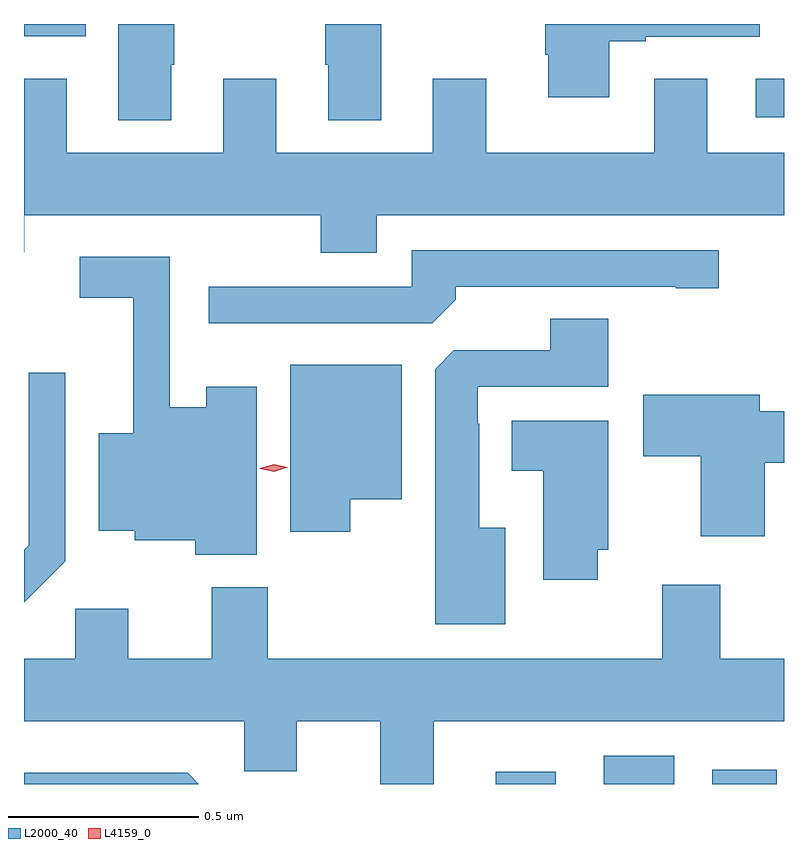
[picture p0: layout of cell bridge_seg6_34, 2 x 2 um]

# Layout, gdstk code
import gdstk
lib = gdstk.Library(unit=1e-6, precision=1e-09)
def R(c, l, rs):  # rectangles x0, y0, x1, y1
    for r in rs: c.add(gdstk.rectangle(r[:2], r[2:], *l))
def P(c, l, *ps):  # polygons
    for p in ps: c.add(gdstk.Polygon(p, *l))
L2000_40 = (2000, 40)
L4159_0 = (4159, 0)

bridge_seg6_34 = lib.new_cell('bridge_seg6_34')
R(bridge_seg6_34, L2000_40, [(1079.21,983.135,1079.368,983.167), (1079.495,983.135,1079.68,983.209), (1079.78,983.135,1079.95,983.173), (1079.895,984.89,1079.969,984.991), (1077.969,985.103,1078.132,985.135)])
P(bridge_seg6_34, L2000_40, [(1079.509,985.089),(1079.605,985.089),(1079.605,985.101),(1079.905,985.101),(1079.905,985.135),(1079.341,985.135),(1079.341,985.054),(1079.348,985.054),(1079.348,984.942),(1079.509,984.942)],
  [(1078.909,985.135),(1078.762,985.135),(1078.762,985.028),(1078.769,985.028),(1078.769,984.882),(1078.909,984.882)],
  [(1078.357,985.028),(1078.365,985.028),(1078.365,985.135),(1078.217,985.135),(1078.217,984.882),(1078.357,984.882)],
  [(1078.897,984.632),(1079.969,984.632),(1079.969,984.796),(1079.767,984.796),(1079.767,984.991),(1079.627,984.991),(1079.627,984.796),(1079.185,984.796),(1079.185,984.991),(1079.045,984.991),(1079.045,984.796),(1078.633,984.796),(1078.633,984.991),(1078.493,984.991),(1078.493,984.796),(1078.081,984.796),(1078.081,984.991),(1077.969,984.991),(1077.969,984.534),(1077.97,984.534),(1077.97,984.632),(1078.75,984.632),(1078.75,984.533),(1078.897,984.533)],
  [(1079.105,984.41),(1079.105,984.444),(1079.684,984.444),(1079.684,984.439),(1079.797,984.439),(1079.797,984.54),(1078.989,984.54),(1078.989,984.444),(1078.455,984.444),(1078.455,984.348),(1079.043,984.348)],
  [(1078.582,984.181),(1078.448,984.181),(1078.448,984.127),(1078.353,984.127),(1078.353,984.522),(1078.116,984.522),(1078.116,984.414),(1078.256,984.414),(1078.256,984.058),(1078.166,984.058),(1078.166,983.801),(1078.26,983.801),(1078.26,983.777),(1078.42,983.777),(1078.42,983.738),(1078.582,983.738)],
  [(1079.236,983.809),(1079.167,983.809),(1079.167,984.083),(1079.163,984.083),(1079.163,984.18),(1079.507,984.18),(1079.507,984.359),(1079.354,984.359),(1079.354,984.276),(1079.1,984.276),(1079.051,984.227),(1079.051,983.555),(1079.236,983.555)],
  [(1078.828,983.885),(1078.963,983.885),(1078.963,984.238),(1078.67,984.238),(1078.67,983.799),(1078.828,983.799)],
  [(1078.077,983.721),(1078.077,984.217),(1077.981,984.217),(1077.981,983.763),(1077.969,983.751),(1077.969,983.613)],
  [(1079.918,983.98),(1079.969,983.98),(1079.969,984.116),(1079.905,984.116),(1079.905,984.16),(1079.598,984.16),(1079.598,983.998),(1079.75,983.998),(1079.75,983.787),(1079.918,983.787)],
  [(1079.479,983.751),(1079.506,983.751),(1079.506,984.091),(1079.252,984.091),(1079.252,983.96),(1079.336,983.96),(1079.336,983.673),(1079.479,983.673)],
  [(1079.047,983.3),(1079.969,983.3),(1079.969,983.464),(1079.801,983.464),(1079.801,983.659),(1079.648,983.659),(1079.648,983.464),(1078.611,983.464),(1078.611,983.653),(1078.463,983.653),(1078.463,983.464),(1078.243,983.464),(1078.243,983.596),(1078.104,983.596),(1078.104,983.464),(1077.969,983.464),(1077.969,983.3),(1078.548,983.3),(1078.548,983.169),(1078.687,983.169),(1078.687,983.3),(1078.907,983.3),(1078.907,983.135),(1079.047,983.135)],
  [(1078.4,983.164),(1077.969,983.164),(1077.969,983.135),(1078.429,983.135)])
P(bridge_seg6_34, L4159_0, [(1078.627,983.957),(1078.59,983.965),(1078.59,983.965),(1078.59,983.966),(1078.626,983.976),(1078.663,983.968),(1078.663,983.968),(1078.663,983.968)])

lib.write_gds('bridge_seg6_34.gds')
